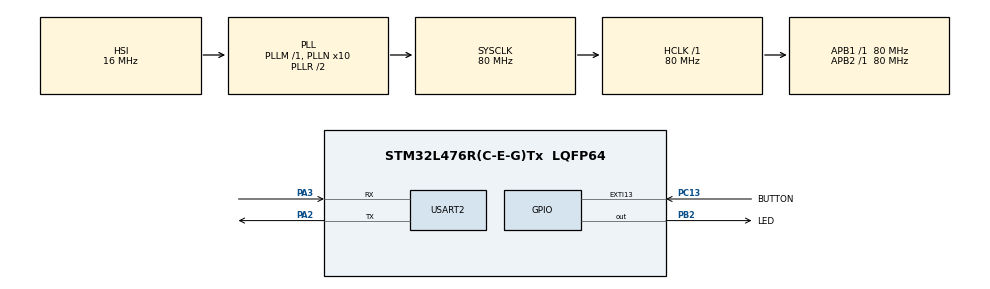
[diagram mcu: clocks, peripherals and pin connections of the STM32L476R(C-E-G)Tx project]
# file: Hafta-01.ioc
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FREERTOS.Tasks01=defaultTask,24,128,StartDefaultTask,Default,NULL,Dynamic,NULL,NULL
Mcu.Family=STM32L4
Mcu.Name=STM32L476R(C-E-G)Tx
Mcu.Package=LQFP64
NVIC.EXTI15_10_IRQn=true\:5\:0\:false\:false\:true\:true\:true\:true\:true
NVIC.PriorityGroup=NVIC_PRIORITYGROUP_4
NVIC.TIM3_IRQn=true\:15\:0\:false\:false\:true\:false\:false\:true\:true
NVIC.TimeBase=TIM3_IRQn
NVIC.TimeBaseIP=TIM3
NVIC.USART2_IRQn=true\:5\:0\:false\:false\:true\:true\:true\:true\:true
PA13\ (JTMS-SWDIO).Mode=Serial_Wire
PA13\ (JTMS-SWDIO).Signal=SYS_JTMS-SWDIO
PA14\ (JTCK-SWCLK).Mode=Serial_Wire
PA14\ (JTCK-SWCLK).Signal=SYS_JTCK-SWCLK
PA2.Mode=Asynchronous
PA2.Signal=USART2_TX
PA3.Mode=Asynchronous
PA3.Signal=USART2_RX
PB2.GPIO_Label=LED
PB2.Signal=GPIO_Output
PC13.GPIO_Label=BUTTON
PC13.GPIO_ModeDefaultEXTI=GPIO_MODE_IT_RISING
PC13.GPIO_PuPd=GPIO_PULLDOWN
PC13.Signal=GPXTI13
PH0-OSC_IN\ (PH0).Mode=HSE-External-Oscillator
PH0-OSC_IN\ (PH0).Signal=RCC_OSC_IN
PH1-OSC_OUT\ (PH1).Mode=HSE-External-Oscillator
PH1-OSC_OUT\ (PH1).Signal=RCC_OSC_OUT
ProjectManager.HeapSize=0x200
ProjectManager.StackSize=0x400
ProjectManager.TargetToolchain=CMake
RCC.ADCFreq_Value=64000000
RCC.AHBFreq_Value=80000000
RCC.APB1Freq_Value=80000000
RCC.APB1TimFreq_Value=80000000
RCC.APB2Freq_Value=80000000
RCC.APB2TimFreq_Value=80000000
RCC.CortexFreq_Value=80000000
RCC.HCLKFreq_Value=80000000
RCC.HSE_VALUE=8000000
RCC.HSI_VALUE=16000000
RCC.LSE_VALUE=32768
RCC.MSI_VALUE=4000000
RCC.PLLN=10
RCC.PLLSourceVirtual=RCC_PLLSOURCE_HSI
RCC.SYSCLKFreq_VALUE=80000000
RCC.SYSCLKSource=RCC_SYSCLKSOURCE_PLLCLK
RCC.USBFreq_Value=64000000
RCC.VCOOutputFreq_Value=160000000
TIM2.AutoReloadPreload=TIM_AUTORELOAD_PRELOAD_ENABLE
TIM2.Period=4294967295
TIM2.Prescaler=79
USART2.VirtualMode-Asynchronous=VM_ASYNC
VP_FREERTOS_VS_CMSIS_V2.Mode=CMSIS_V2
VP_SYS_VS_tim3.Mode=TIM3
VP_TIM2_VS_ClockSourceINT.Mode=Internal
board=custom

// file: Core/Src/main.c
/* USER CODE BEGIN Header */
/**
  ******************************************************************************
  * @file           : main.c
  * @brief          : Main program body
  ******************************************************************************
  * @attention
  *
  * Copyright (c) 2026 STMicroelectronics.
  * All rights reserved.
  *
  * This software is licensed under terms that can be found in the LICENSE file
  * in the root directory of this software component.
  * If no LICENSE file comes with this software, it is provided AS-IS.
  *
  ******************************************************************************
  */
/* USER CODE END Header */
#include "main.h"
#include "cmsis_os.h"

/* USER CODE BEGIN Includes */
#include "FreeRTOS.h"
#include "task.h"
#include "queue.h"
#include <stdio.h>
#include <string.h>
/* USER CODE END Includes */

/* USER CODE BEGIN PTD */
/*
 *  EXTI13 ISR --(buttonQ)--> ButtonTask (orta) ---------\
 *  TelemetriTask (yuksek, senaryoya gore) ---------------+--(txQ FIFO)--> UartTxTask (dusuk) --> USART2 (IT)
 *  USART2 RX ISR (komut "S0".."S5", "?") --(txQ, on)----/
 *
 *  Yanit suresi R = t4 - t0. Sinirlar:
 *   t0  Buton ISR girisinde         : filtrenin kabul ettigi kenarin zamani.
 *   t1  ButtonTask olayi aldiktan hemen sonra : olay aktarimi + CPU beklemesi dahil.
 *   t2  Yanit icin xQueueSend cagrisindan hemen once : basarili gonderimde zincir surer.
 *   t3  UART baslatma cagrisindan (HAL_UART_Transmit_IT) hemen once
 *       : ilk fiziksel bit ile ayni an DEGILDIR.
 *   t4  UART TC tamamlanmasi islenirken (HAL_UART_TxCpltCallback)
 *       : son bitten sonraki ISR/callback gozlem zamani.
 *
 *  UART satir protokolu (MCU -> PC), her satir '\n' ile biter, '#' = yorum:
 *   SCN,<scn>,<period_ms>,<work_ms>,<next_id>,<baud>
 *   BAUD,<yeni>,<eski>                          <- hiz degisimi onayi (ESKI hizda gonderilir)
 *   TEL,<scn>,<seq>,<temp_dC>,<vbat_mV>,<exec_us>
 *   BTN,<scn>,<id>                                  <- olculen yanit mesajinin kendisi
 *   REC,<scn>,<id>,<status>,<t0>,<t1>,<t2>,<t3>,<t4> (ham TIM2 us, modulo 2^32)
 *       status: OK | DROPI (buttonQ dolu) | DROPQ (txQ dolu) | TXERR | TMO | LOST
 *  Komutlar (PC -> MCU), yalnizca deney disinda: "S0".."S5" senaryo, "?" durum,
 *   "B<baud>" UART hizi (9600..921600). Yeni hizda 3 sn icinde "?" gelmezse eski hiza donulur.
 */
typedef enum
{
  TEL = 0,
  BTN = 1,
  CTL = 2
} TxSource;

/* ISR -> ButtonTask */
typedef struct
{
  uint32_t id;
  uint32_t t0_us;          /* filtrenin kabul ettigi kenarin zamani */
} ButtonEvent;

/* Ureticiler -> UartTxTask (ortak FIFO) */
typedef struct
{
  TxSource src;
  uint8_t  scn;
  uint32_t id;
  uint32_t t_event_us;     /* TEL: release ani, BTN: t0 */
  union
  {
    struct { uint32_t sample; int16_t temp_dC; uint16_t vbat_mV; uint32_t exec_us; } tel;
    struct { uint8_t cmd; uint32_t baud; } ctl;   /* 0..5: senaryo, CTL_QUERY: durum, CTL_BAUD: hiz */
  } u;
} TxMsg;

typedef enum
{
  REC_PENDING = 0,   /* ISR kabul etti (t0)              */
  REC_ACTIVE,        /* ButtonTask aldi (t1)             */
  REC_QUEUED,        /* yanit txQ'ya veriliyor (t2)      */
  REC_OK,            /* UART TC goruldu (t3, t4)         */
  REC_DROPI,         /* buttonQ dolu                     */
  REC_DROPQ,         /* txQ dolu                         */
  REC_TXERR,         /* HAL_UART_Transmit_IT hata dondu  */
  REC_TMO            /* TC zamaninda gelmedi             */
} RecState;

/* Bir buton olayinin zaman cizelgesi */
typedef struct
{
  uint32_t id;
  uint8_t  scn;
  RecState state;
  uint32_t t0, t1, t2, t3, t4;
} BtnRecord;

typedef struct
{
  uint16_t period_ms;      /* 0 = telemetri kapali */
  uint16_t work_ms;        /* aktivasyon basina ek CPU isi (ms) */
} ScenarioCfg;

typedef enum
{
  TX_OK = 0,
  TX_ERR,
  TX_TMO
} TxResult;

/* Senaryo degisince sifirlanir. Debugger -> Live Expressions */
typedef struct
{
  uint32_t btn_accepted;       /* filtreden gecen basis kenarlari                 */
  uint32_t btn_bounce;         /* 30 ms penceresinde sayilip atilan kenarlar      */
  uint32_t btn_isr_drop;       /* buttonQ dolu                                    */
  uint32_t btn_txq_drop;       /* yanit txQ'ya sigmadi                            */
  uint32_t btn_ok;             /* t4'e ulasan yanitlar                            */
  uint32_t btn_deadline_miss;  /* R > 20 ms                                       */
  uint32_t btn_max_us;
  uint32_t tx_err;
  uint32_t tx_tmo;
  uint32_t rec_lost;           /* kayit slotu raporlanmadan ustune yazildi        */
  uint32_t tel_sent;
  uint32_t tel_drop;
  uint32_t tel_max_exec_us;
  uint32_t tel_max_jitter_us;
  uint32_t rx_err;
  uint32_t cmd_bad;
} RtStats;
/* USER CODE END PTD */

/* USER CODE BEGIN PD */
/* Oncelikler: defaultTask = 24 (osPriorityNormal); hepsi onun ustunde */
#define TEL_TASK_PRIO       40u   /* en yuksek */
#define BTN_TASK_PRIO       32u   /* orta      */
#define UARTTX_TASK_PRIO    25u   /* en dusuk  */

#define TEL_STACK_WORDS     256u
#define BTN_STACK_WORDS     256u
#define UARTTX_STACK_WORDS  512u  /* snprintf icin genis */

#define TXQ_LEN             16u
#define BUTTONQ_LEN         8u

#define BTN_DEADLINE_US     20000u
#define BTN_REFILTER_US     30000u  /* kabul edilen kenardan sonraki 30 ms: tekrar kenarlar atilir */
#define BTN_REC_SLOTS       16u

#define SCN_COUNT           6u
#define SCN_DEFAULT         0u
#define CTL_QUERY           0xFFu
#define CTL_BAUD            0xFDu

#define UART_TX_MARGIN_MS   20u     /* TMO = satirin hattaki suresi + bu pay */
#define BAUD_CONFIRM_MS     3000u   /* yeni hizda bu surede "?" gelmezse eski hiza don */
#define UARTTX_IDLE_MS      50u     /* kuyruk bossa bu aralikla biten kayitlari raporla */
#define CMD_BUF_LEN         12u
/* USER CODE END PD */

/* USER CODE BEGIN PM */
/* xTaskDelayUntil FreeRTOS 10.4.0'da geldi; projedeki surum 10.3.1 */
#if (tskKERNEL_VERSION_MAJOR == 10) && (tskKERNEL_VERSION_MINOR < 4)
#define xTaskDelayUntil(prev, inc)  vTaskDelayUntil((prev), (inc))
#endif
/* USER CODE END PM */

TIM_HandleTypeDef htim2;

UART_HandleTypeDef huart2;

/* Definitions for defaultTask */
osThreadId_t defaultTaskHandle;
const osThreadAttr_t defaultTask_attributes = {
  .name = "defaultTask",
  .stack_size = 128 * 4,
  .priority = (osPriority_t) osPriorityNormal,
};
/* USER CODE BEGIN PV */
/* Statik task bellekleri */
static StaticTask_t telTcb;
static StackType_t  telStack[TEL_STACK_WORDS];
static StaticTask_t btnTcb;
static StackType_t  btnStack[BTN_STACK_WORDS];
static StaticTask_t uartTxTcb;
static StackType_t  uartTxStack[UARTTX_STACK_WORDS];

/* Statik kuyruk bellekleri */
static StaticQueue_t txQCb;
static uint8_t       txQStorage[TXQ_LEN * sizeof(TxMsg)];
static StaticQueue_t buttonQCb;
static uint8_t       buttonQStorage[BUTTONQ_LEN * sizeof(ButtonEvent)];

static TaskHandle_t  telTaskHandle;
static TaskHandle_t  btnTaskHandle;
static TaskHandle_t  uartTxTaskHandle;
static QueueHandle_t txQ;
static QueueHandle_t buttonQ;

/* Olcum senaryolari */
static const ScenarioCfg kScenario[SCN_COUNT] =
{
  /* period_ms, work_ms */
  {   0u, 0u },   /* S0: telemetri kapali (task bloklu) - referans */
  { 100u, 0u },   /* S1: 10 Hz                                     */
  {  20u, 0u },   /* S2: 50 Hz                                     */
  {  10u, 0u },   /* S3: 100 Hz                                    */
  {  10u, 2u },   /* S4: 100 Hz + ~2 ms CPU isi                    */
  {  10u, 5u },   /* S5: 100 Hz + ~5 ms CPU isi                    */
};
static volatile uint8_t g_scn = SCN_DEFAULT;   /* sadece UartTxTask yazar */

static uint32_t          workItersPerMs;       /* calibrate_work() sonucu      */
static uint32_t          workCheckUs[2];       /* acilis dogrulamasi: 2 ms ve 5 ms isin olculen suresi */
static BtnRecord         btnRec[BTN_REC_SLOTS];
static volatile uint32_t btnNextId;            /* sadece buton ISR'i yazar     */
static uint32_t          reportNextId;         /* sadece UartTxTask kullanir   */
static volatile uint32_t uartTxT4;             /* TC callback'inde alinan t4   */
static char              txBuf[128];           /* IT gonderimi bitene kadar sabit kalir */

/* Desteklenen UART hizlari (USART2 = 80 MHz, 16x ornekleme: hepsinde hata < %0.2) */
static const uint32_t kBaud[] = { 9600u, 19200u, 57600u, 115200u, 230400u, 460800u, 921600u };
static uint32_t   baudPrev;                     /* onay bekleyen degisimden onceki hiz */
static uint8_t    baudPending;                  /* 1: yeni hiz henuz onaylanmadi       */
static TickType_t baudDeadline;

volatile RtStats g_rt;
/* USER CODE END PV */

void SystemClock_Config(void);
static void MX_GPIO_Init(void);
static void MX_TIM2_Init(void);
static void MX_USART2_UART_Init(void);
void StartDefaultTask(void *argument);

/* USER CODE BEGIN PFP */
static void TelemetriTask(void *argument);
static void ButtonTask(void *argument);
static void UartTxTask(void *argument);
/* USER CODE END PFP */

/* USER CODE BEGIN 0 */
/* TIM2: 80 MHz / (79+1) = 1 MHz, 32-bit, yukari sayan serbest sayac.
 * - ISR-guvenli: tek bir 32-bit yazmac okumasi (atomik); paylasilan degisken,
 *   kilit veya HAL cagrisi yok -> herhangi bir oncelikten cagrilabilir.
 * - Monoton: sayac hic durmaz/geri gitmez; 2^32 us'de (~71.6 dk) sarar.
 *   Sureler HER ZAMAN (uint32_t)(yeni - eski) ile hesaplanir; bu modulo-2^32
 *   aritmetigi sarma aninda bile ~71 dk'dan kisa araliklari dogru verir. */
static inline uint32_t timer_us(void)
{
  return TIM2->CNT;
}

/* Bilinen sure kadar CPU harcar (yuk simulasyonu) */
static void calibrated_work(uint32_t iterations)
{
  for (volatile uint32_t i = 0; i < iterations; i++)
  {
  }
}

/* Scheduler'dan once: 1 ms'lik is icin gereken iterasyon sayisini olcer,
 * sonra 2 ms ve 5 ms'lik isi gercekten calistirip suresini dogrular (UART'a "# CAL"). */
static void calibrate_work(void)
{
  const uint32_t probe = 50000u;             /* ~7 ms: 1 us cozunurlukte < %0.02 hata */
  uint32_t best = UINT32_MAX;

  for (int i = 0; i < 3; i++)   /* tick kesmesi karismasin diye en kisasi alinir */
  {
    uint32_t t = timer_us();
    calibrated_work(probe);
    uint32_t d = timer_us() - t;
    if (d < best)
    {
      best = d;
    }
  }
  if (best == 0u)
  {
    best = 1u;
  }
  workItersPerMs = (uint32_t)(((uint64_t)probe * 1000u) / best);

  static const uint8_t check_ms[2] = { 2u, 5u };
  for (int i = 0; i < 2; i++)
  {
    uint32_t t = timer_us();
    calibrated_work(workItersPerMs * check_ms[i]);
    workCheckUs[i] = timer_us() - t;
  }
}

static uint32_t work_iters(uint32_t work_ms)
{
  return workItersPerMs * work_ms;
}

static TxMsg make_telemetry(uint32_t t_release_us)
{
  static uint32_t sample;
  TxMsg m = {0};
  uint32_t exec = timer_us() - t_release_us;   /* ek is olmasa da sifir degil */

  if (exec > g_rt.tel_max_exec_us)
  {
    g_rt.tel_max_exec_us = exec;
  }

  m.src           = TEL;
  m.scn           = g_scn;
  m.id            = sample;
  m.t_event_us    = t_release_us;
  m.u.tel.sample  = sample;
  m.u.tel.temp_dC = (int16_t)(240 + (int32_t)(sample % 21u));   /* 24.0 .. 26.0 C */
  m.u.tel.vbat_mV = (uint16_t)(3300u - (sample % 50u));
  m.u.tel.exec_us = exec;
  sample++;
  return m;
}

static void count_tx_drop(TxSource src)
{
  if (src == TEL)
  {
    g_rt.tel_drop++;
  }
  else
  {
    g_rt.btn_txq_drop++;
  }
}

static inline BtnRecord *rec_slot(uint32_t id)
{
  return &btnRec[id % BTN_REC_SLOTS];
}

/* ISR: kayit zincirini t0 ile acar */
static void claim_record(ButtonEvent e)
{
  BtnRecord *r = rec_slot(e.id);
  r->id    = e.id;
  r->scn   = g_scn;
  r->t0    = e.t0_us;
  r->t1    = 0u;
  r->t2    = 0u;
  r->t3    = 0u;
  r->t4    = 0u;
  r->state = REC_PENDING;
}

/* Slot daha yeni bir olay tarafindan alindiysa yazma: o kayit LOST raporlanir */
static void begin_record(ButtonEvent e, uint32_t t1)
{
  BtnRecord *r = rec_slot(e.id);
  if (r->id == e.id)
  {
    r->t1    = t1;
    r->state = REC_ACTIVE;
  }
}

static TxMsg make_button_reply(uint32_t id)
{
  BtnRecord *r = rec_slot(id);
  TxMsg m = {0};
  m.src        = BTN;
  m.scn        = r->scn;
  m.id         = id;
  m.t_event_us = r->t0;
  return m;
}

static void record_t2(uint32_t id, uint32_t t2)
{
  BtnRecord *r = rec_slot(id);
  if (r->id == id)
  {
    r->t2    = t2;
    r->state = REC_QUEUED;
  }
}

static void mark_drop(uint32_t id)
{
  BtnRecord *r = rec_slot(id);
  if (r->id == id)
  {
    r->state = REC_DROPQ;
  }
  count_tx_drop(BTN);
}

/* Kesmeli gonderim. t3: baslatma cagrisindan hemen once; t4: TC callback'inde.
 * Gonderim surerken task BLOKLU bekler (CPU'yu digerlerine birakir). */
static TxResult uart_tx(const char *s, int len, uint32_t *t3, uint32_t *t4)
{
  if ((len <= 0) || (len >= (int)sizeof(txBuf)))
  {
    g_rt.tx_err++;
    return TX_ERR;
  }

  (void)ulTaskNotifyTake(pdTRUE, 0);          /* eski bildirim kalmasin */
  *t3 = timer_us();                           /* t3 */
  if (HAL_UART_Transmit_IT(&huart2, (const uint8_t *)s, (uint16_t)len) != HAL_OK)
  {
    g_rt.tx_err++;
    return TX_ERR;
  }
  /* 1 bayt = 10 bit (8N1): beklenen hat suresi + pay */
  const uint32_t tmo_ms = ((uint32_t)len * 10000u) / huart2.Init.BaudRate + UART_TX_MARGIN_MS;
  if (ulTaskNotifyTake(pdTRUE, pdMS_TO_TICKS(tmo_ms)) == 0u)
  {
    (void)HAL_UART_AbortTransmit(&huart2);
    g_rt.tx_tmo++;
    return TX_TMO;
  }
  *t4 = uartTxT4;                             /* t4 */
  return TX_OK;
}

static TxResult uart_send(int len)
{
  uint32_t t3, t4;
  return uart_tx(txBuf, len, &t3, &t4);
}

static void send_scn_line(void)
{
  const uint8_t scn = g_scn;
  int len = snprintf(txBuf, sizeof(txBuf), "SCN,%u,%u,%u,%lu,%lu\n",
                     (unsigned)scn, (unsigned)kScenario[scn].period_ms,
                     (unsigned)kScenario[scn].work_ms, (unsigned long)btnNextId,
                     (unsigned long)huart2.Init.BaudRate);
  (void)uart_send(len);
}

static int baud_supported(uint32_t baud)
{
  for (unsigned i = 0; i < sizeof(kBaud) / sizeof(kBaud[0]); i++)
  {
    if (kBaud[i] == baud) return 1;
  }
  return 0;
}

/* USART2'yi yeni hizla yeniden yapilandirir. TX bosken cagrilir (UartTxTask). */
static void uart_set_baud(uint32_t baud)
{
  HAL_NVIC_DisableIRQ(USART2_IRQn);
  huart2.Init.BaudRate = baud;
  if (HAL_UART_Init(&huart2) != HAL_OK)       /* MspInit tekrar cagrilmaz: sadece BRR/CR */
  {
    Error_Handler();
  }
  __HAL_UART_CLEAR_FLAG(&huart2, UART_CLEAR_OREF | UART_CLEAR_FEF | UART_CLEAR_NEF | UART_CLEAR_PEF);
  SET_BIT(huart2.Instance->CR1, USART_CR1_RXNEIE);
  HAL_NVIC_ClearPendingIRQ(USART2_IRQn);
  HAL_NVIC_EnableIRQ(USART2_IRQn);
}

/* Onay satiri ESKI hizda gider, sonra hiz degisir. PC yeni hizda "?" gondermezse
 * baud_watchdog() BAUD_CONFIRM_MS sonra eski hiza doner. */
static void change_baud(uint32_t baud)
{
  const uint32_t old = huart2.Init.BaudRate;
  int len = snprintf(txBuf, sizeof(txBuf), "BAUD,%lu,%lu\n", (unsigned long)baud, (unsigned long)old);
  (void)uart_send(len);                       /* TC'ye kadar bekler: son bit hatta */
  vTaskDelay(pdMS_TO_TICKS(20));              /* ST-LINK'in satiri USB'ye aktarmasi icin */
  if (baud == old)
  {
    return;
  }
  uart_set_baud(baud);
  baudPrev     = old;
  baudPending  = 1u;
  baudDeadline = xTaskGetTickCount() + pdMS_TO_TICKS(BAUD_CONFIRM_MS);
}

static void baud_watchdog(void)
{
  if (baudPending && ((int32_t)(xTaskGetTickCount() - baudDeadline) >= 0))
  {
    baudPending = 0u;
    uart_set_baud(baudPrev);                  /* PC yeni hiza gelemedi: geri don */
  }
}

/* Senaryo/hiz degisimi yalnizca burada (UartTxTask) yapilir. */
static void apply_ctl(uint8_t cmd, uint32_t baud)
{
  if (cmd == CTL_BAUD)
  {
    change_baud(baud);
    return;
  }
  if (cmd == CTL_QUERY)
  {
    baudPending = 0u;                         /* yeni hizda komut geldi: hiz onaylandi */
  }
  if (cmd < SCN_COUNT)
  {
    taskENTER_CRITICAL();
    g_scn = cmd;
    memset((void *)&g_rt, 0, sizeof(g_rt));
    taskEXIT_CRITICAL();
    xTaskNotifyGive(telTaskHandle);           /* S0'da bloklu olabilir: uyandir */
  }
  send_scn_line();
}

static const char *rec_status_str(RecState s)
{
  switch (s)
  {
    case REC_OK:    return "OK";
    case REC_DROPI: return "DROPI";
    case REC_DROPQ: return "DROPQ";
    case REC_TXERR: return "TXERR";
    case REC_TMO:   return "TMO";
    default:        return "LOST";
  }
}

/* Biten buton kayitlarini kimlik sirasiyla REC satiri olarak raporlar.
 * Hala yolda olan bir kayitta durur; boylece her kimlik tam bir kez raporlanir. */
static void report_records(void)
{
  for (;;)
  {
    BtnRecord r;
    uint32_t  issued;

    taskENTER_CRITICAL();
    issued = btnNextId;
    r      = *rec_slot(reportNextId);
    taskEXIT_CRITICAL();

    if (reportNextId == issued)
    {
      return;
    }

    RecState st;
    if (r.id != reportNextId)
    {
      st = REC_PENDING;                       /* slot ustune yazilmis -> LOST */
      r.scn = g_scn;
      r.t0 = r.t1 = r.t2 = r.t3 = r.t4 = 0u;
      g_rt.rec_lost++;
    }
    else if ((r.state == REC_PENDING) || (r.state == REC_ACTIVE) || (r.state == REC_QUEUED))
    {
      return;                                 /* hala yolda */
    }
    else
    {
      st = r.state;
    }

    int len = snprintf(txBuf, sizeof(txBuf), "REC,%u,%lu,%s,%lu,%lu,%lu,%lu,%lu\n",
                       (unsigned)r.scn, (unsigned long)reportNextId, rec_status_str(st),
                       (unsigned long)r.t0, (unsigned long)r.t1, (unsigned long)r.t2,
                       (unsigned long)r.t3, (unsigned long)r.t4);
    (void)uart_send(len);
    reportNextId++;
  }
}

/* Yanit mesaji: olculen gonderim budur (t3..t4) */
static void handle_button_reply(const TxMsg *m)
{
  uint32_t t3 = 0u, t4 = 0u;
  int len = snprintf(txBuf, sizeof(txBuf), "BTN,%u,%lu\n",
                     (unsigned)m->scn, (unsigned long)m->id);
  TxResult res = uart_tx(txBuf, len, &t3, &t4);

  taskENTER_CRITICAL();
  BtnRecord *r = rec_slot(m->id);
  if (r->id == m->id)
  {
    r->t3 = t3;
    if (res == TX_OK)
    {
      r->t4    = t4;
      r->state = REC_OK;
    }
    else
    {
      r->state = (res == TX_TMO) ? REC_TMO : REC_TXERR;
    }
  }
  taskEXIT_CRITICAL();

  if (res == TX_OK)
  {
    uint32_t resp = t4 - m->t_event_us;
    g_rt.btn_ok++;
    if (resp > g_rt.btn_max_us)
    {
      g_rt.btn_max_us = resp;
    }
    if (resp > BTN_DEADLINE_US)
    {
      g_rt.btn_deadline_miss++;
    }
  }
}
/* USER CODE END 0 */

int main(void)
{

  /* MCU Configuration--------------------------------------------------------*/

  /* Reset of all peripherals, Initializes the Flash interface and the Systick. */
  HAL_Init();

  /* Configure the system clock */
  SystemClock_Config();

  /* Initialize all configured peripherals */
  MX_GPIO_Init();
  MX_TIM2_Init();
  MX_USART2_UART_Init();
  /* USER CODE BEGIN 2 */
  HAL_TIM_Base_Start(&htim2);   /* TIM2: 1 MHz serbest sayac (zaman damgasi) */
  calibrate_work();
  /* USER CODE END 2 */

  /* Init scheduler */
  osKernelInitialize();

  /* USER CODE BEGIN RTOS_QUEUES */
  /* add queues, ... */
  txQ     = xQueueCreateStatic(TXQ_LEN, sizeof(TxMsg), txQStorage, &txQCb);
  buttonQ = xQueueCreateStatic(BUTTONQ_LEN, sizeof(ButtonEvent), buttonQStorage, &buttonQCb);
  configASSERT(txQ != NULL);
  configASSERT(buttonQ != NULL);
  vQueueAddToRegistry(txQ, "txQ");
  vQueueAddToRegistry(buttonQ, "buttonQ");

  /* ...FromISR API'si cagiran IRQ'larin onceligi sayisal olarak
   * configLIBRARY_MAX_SYSCALL_INTERRUPT_PRIORITY (5) veya daha buyuk olmali. */
  configASSERT(NVIC_GetPriority(BUTTON_EXTI_IRQn) >= configLIBRARY_MAX_SYSCALL_INTERRUPT_PRIORITY);
  configASSERT(NVIC_GetPriority(USART2_IRQn) >= configLIBRARY_MAX_SYSCALL_INTERRUPT_PRIORITY);

  __HAL_GPIO_EXTI_CLEAR_IT(BUTTON_Pin);       /* acilistaki eski kenarlari unut */
  HAL_NVIC_ClearPendingIRQ(BUTTON_EXTI_IRQn);
  HAL_NVIC_EnableIRQ(BUTTON_EXTI_IRQn);

  /* Komut alimi: RXNE kesmesi (uart_rx_irq). TX tarafini HAL IT yonetir. */
  __HAL_UART_CLEAR_FLAG(&huart2, UART_CLEAR_OREF | UART_CLEAR_FEF | UART_CLEAR_NEF | UART_CLEAR_PEF);
  SET_BIT(huart2.Instance->CR1, USART_CR1_RXNEIE);
  /* USER CODE END RTOS_QUEUES */

  /* Create the thread(s) */
  /* creation of defaultTask */
  defaultTaskHandle = osThreadNew(StartDefaultTask, NULL, &defaultTask_attributes);

  /* USER CODE BEGIN RTOS_THREADS */
  /* add threads, ... */
  telTaskHandle    = xTaskCreateStatic(TelemetriTask, "TelemetriTask", TEL_STACK_WORDS,
                                       NULL, TEL_TASK_PRIO, telStack, &telTcb);
  btnTaskHandle    = xTaskCreateStatic(ButtonTask, "ButtonTask", BTN_STACK_WORDS,
                                       NULL, BTN_TASK_PRIO, btnStack, &btnTcb);
  uartTxTaskHandle = xTaskCreateStatic(UartTxTask, "UartTxTask", UARTTX_STACK_WORDS,
                                       NULL, UARTTX_TASK_PRIO, uartTxStack, &uartTxTcb);
  configASSERT(telTaskHandle != NULL);
  configASSERT(btnTaskHandle != NULL);
  configASSERT(uartTxTaskHandle != NULL);
  /* USER CODE END RTOS_THREADS */

  /* Start scheduler */
  osKernelStart();

  /* We should never get here as control is now taken by the scheduler */

  /* Infinite loop */
  while (1)
  {

  }
}

void SystemClock_Config(void)
{
  RCC_OscInitTypeDef RCC_OscInitStruct = {0};
  RCC_ClkInitTypeDef RCC_ClkInitStruct = {0};

  /** Configure the main internal regulator output voltage
  */
  if (HAL_PWREx_ControlVoltageScaling(PWR_REGULATOR_VOLTAGE_SCALE1) != HAL_OK)
  {
    Error_Handler();
  }

  /** Initializes the RCC Oscillators according to the specified parameters
  * in the RCC_OscInitTypeDef structure.
  */
  RCC_OscInitStruct.OscillatorType = RCC_OSCILLATORTYPE_HSI;
  RCC_OscInitStruct.HSIState = RCC_HSI_ON;
  RCC_OscInitStruct.HSICalibrationValue = RCC_HSICALIBRATION_DEFAULT;
  RCC_OscInitStruct.PLL.PLLState = RCC_PLL_ON;
  RCC_OscInitStruct.PLL.PLLSource = RCC_PLLSOURCE_HSI;
  RCC_OscInitStruct.PLL.PLLM = 1;
  RCC_OscInitStruct.PLL.PLLN = 10;
  RCC_OscInitStruct.PLL.PLLP = RCC_PLLP_DIV7;
  RCC_OscInitStruct.PLL.PLLQ = RCC_PLLQ_DIV2;
  RCC_OscInitStruct.PLL.PLLR = RCC_PLLR_DIV2;
  if (HAL_RCC_OscConfig(&RCC_OscInitStruct) != HAL_OK)
  {
    Error_Handler();
  }

  /** Initializes the CPU, AHB and APB buses clocks
  */
  RCC_ClkInitStruct.ClockType = RCC_CLOCKTYPE_HCLK|RCC_CLOCKTYPE_SYSCLK
                              |RCC_CLOCKTYPE_PCLK1|RCC_CLOCKTYPE_PCLK2;
  RCC_ClkInitStruct.SYSCLKSource = RCC_SYSCLKSOURCE_PLLCLK;
  RCC_ClkInitStruct.AHBCLKDivider = RCC_SYSCLK_DIV1;
  RCC_ClkInitStruct.APB1CLKDivider = RCC_HCLK_DIV1;
  RCC_ClkInitStruct.APB2CLKDivider = RCC_HCLK_DIV1;

  if (HAL_RCC_ClockConfig(&RCC_ClkInitStruct, FLASH_LATENCY_4) != HAL_OK)
  {
    Error_Handler();
  }
}

static void MX_TIM2_Init(void)
{

  TIM_ClockConfigTypeDef sClockSourceConfig = {0};
  TIM_MasterConfigTypeDef sMasterConfig = {0};

  htim2.Instance = TIM2;
  htim2.Init.Prescaler = 79;
  htim2.Init.CounterMode = TIM_COUNTERMODE_UP;
  htim2.Init.Period = 4294967295;
  htim2.Init.ClockDivision = TIM_CLOCKDIVISION_DIV1;
  htim2.Init.AutoReloadPreload = TIM_AUTORELOAD_PRELOAD_ENABLE;
  if (HAL_TIM_Base_Init(&htim2) != HAL_OK)
  {
    Error_Handler();
  }
  sClockSourceConfig.ClockSource = TIM_CLOCKSOURCE_INTERNAL;
  if (HAL_TIM_ConfigClockSource(&htim2, &sClockSourceConfig) != HAL_OK)
  {
    Error_Handler();
  }
  sMasterConfig.MasterOutputTrigger = TIM_TRGO_RESET;
  sMasterConfig.MasterSlaveMode = TIM_MASTERSLAVEMODE_DISABLE;
  if (HAL_TIMEx_MasterConfigSynchronization(&htim2, &sMasterConfig) != HAL_OK)
  {
    Error_Handler();
  }

}

static void MX_USART2_UART_Init(void)
{

  huart2.Instance = USART2;
  huart2.Init.BaudRate = 115200;
  huart2.Init.WordLength = UART_WORDLENGTH_8B;
  huart2.Init.StopBits = UART_STOPBITS_1;
  huart2.Init.Parity = UART_PARITY_NONE;
  huart2.Init.Mode = UART_MODE_TX_RX;
  huart2.Init.HwFlowCtl = UART_HWCONTROL_NONE;
  huart2.Init.OverSampling = UART_OVERSAMPLING_16;
  huart2.Init.OneBitSampling = UART_ONE_BIT_SAMPLE_DISABLE;
  huart2.AdvancedInit.AdvFeatureInit = UART_ADVFEATURE_NO_INIT;
  if (HAL_UART_Init(&huart2) != HAL_OK)
  {
    Error_Handler();
  }

}

static void MX_GPIO_Init(void)
{
  GPIO_InitTypeDef GPIO_InitStruct = {0};

  /* GPIO Ports Clock Enable */
  __HAL_RCC_GPIOC_CLK_ENABLE();
  __HAL_RCC_GPIOH_CLK_ENABLE();
  __HAL_RCC_GPIOA_CLK_ENABLE();
  __HAL_RCC_GPIOB_CLK_ENABLE();

  /*Configure GPIO pin Output Level */
  HAL_GPIO_WritePin(LED_GPIO_Port, LED_Pin, GPIO_PIN_RESET);

  /*Configure GPIO pin : BUTTON_Pin */
  GPIO_InitStruct.Pin = BUTTON_Pin;
  GPIO_InitStruct.Mode = GPIO_MODE_IT_RISING;
  GPIO_InitStruct.Pull = GPIO_PULLDOWN;
  HAL_GPIO_Init(BUTTON_GPIO_Port, &GPIO_InitStruct);

  /*Configure GPIO pin : LED_Pin */
  GPIO_InitStruct.Pin = LED_Pin;
  GPIO_InitStruct.Mode = GPIO_MODE_OUTPUT_PP;
  GPIO_InitStruct.Pull = GPIO_NOPULL;
  GPIO_InitStruct.Speed = GPIO_SPEED_FREQ_LOW;
  HAL_GPIO_Init(LED_GPIO_Port, &GPIO_InitStruct);

  /* EXTI interrupt init*/
  HAL_NVIC_SetPriority(EXTI15_10_IRQn, 5, 0);
  HAL_NVIC_EnableIRQ(EXTI15_10_IRQn);

  /* USER CODE BEGIN MX_GPIO_Init_2 */
  /* buttonQ kurulana kadar buton kesmesi kapali; RTOS_QUEUES'te acilir */
  HAL_NVIC_DisableIRQ(BUTTON_EXTI_IRQn);
  /* USER CODE END MX_GPIO_Init_2 */
}

/* USER CODE BEGIN 4 */
/* ---------------------- Buton ISR (EXTI13, sadece basis kenari) ---------------------- */
/* Asagidaki statik durumlarin tamami yalnizca button_irq() icinden degisir; bu IRQ
 * kendini kesemedigi icin kilit/kritik bolge gerekmez. ISR icinde bekleme ve UART yok. */

static inline void clear_button_irq_flag(void)
{
  __HAL_GPIO_EXTI_CLEAR_IT(BUTTON_Pin);
}

/* Ilk kenar her zaman kabul edilir (ayri ilk-olay durumu). Sonrasinda son KABUL
 * edilen kenardan itibaren 30 ms icinde gelen kenarlar sayilip atilir. */
static int accept_edge(uint32_t now)
{
  static uint8_t  have_first;       /* 0: henuz hic kenar kabul edilmedi */
  static uint32_t last_accept_us;

  if (have_first && ((uint32_t)(now - last_accept_us) < BTN_REFILTER_US))
  {
    g_rt.btn_bounce++;
    return 0;
  }

  have_first     = 1u;
  last_accept_us = now;
  g_rt.btn_accepted++;
  return 1;
}

static uint32_t next_id(void)
{
  return btnNextId++;
}

static void count_button_drop(uint32_t id)
{
  g_rt.btn_isr_drop++;
  rec_slot(id)->state = REC_DROPI;
}

/* stm32l4xx_it.c -> EXTI15_10_IRQHandler (USER CODE) icinden cagrilir */
void button_irq(void)
{
  const uint32_t now = timer_us();          /* t0: once zaman, sonra her sey */
  clear_button_irq_flag();
  if (!accept_edge(now)) return;

  ButtonEvent e = { next_id(), now };
  claim_record(e);                          /* olcum zincirini ac */
  BaseType_t wake = pdFALSE;
  if (xQueueSendFromISR(buttonQ,
                        &e, &wake) != pdPASS)
    count_button_drop(e.id);
  portYIELD_FROM_ISR(wake);
}

/* ------------------------ USART2: komut alimi ve TX tamamlanmasi ------------------------ */
/* stm32l4xx_it.c -> USART2_IRQHandler (USER CODE, HAL'dan once) icinden cagrilir.
 * Komutlar: "S0".."S5" -> senaryo, "?" -> durum, "B<baud>" -> hiz ('\n' ile biter).
 * Isleme UartTxTask'ta. */
void uart_rx_irq(void)
{
  static char    line[CMD_BUF_LEN];
  static uint8_t n;
  static uint8_t overflow;
  const uint32_t isr = huart2.Instance->ISR;

  if ((isr & (USART_ISR_ORE | USART_ISR_FE | USART_ISR_NE | USART_ISR_PE)) != 0u)
  {
    __HAL_UART_CLEAR_FLAG(&huart2, UART_CLEAR_OREF | UART_CLEAR_FEF | UART_CLEAR_NEF | UART_CLEAR_PEF);
    g_rt.rx_err++;
  }
  if ((isr & USART_ISR_RXNE) == 0u)
  {
    return;
  }

  const char c = (char)(huart2.Instance->RDR & 0xFFu);   /* okumak RXNE'yi temizler */
  if (c == '\r')
  {
    return;
  }
  if (c != '\n')
  {
    if (n < (CMD_BUF_LEN - 1u)) line[n++] = c;
    else                        overflow = 1u;
    return;
  }

  uint8_t  cmd  = 0xFEu;                     /* gecersiz */
  uint32_t baud = 0u;
  if (!overflow)
  {
    if ((n >= 5u) && (line[0] == 'B'))
    {
      for (uint8_t i = 1u; i < n; i++)
      {
        if ((line[i] < '0') || (line[i] > '9')) { baud = 0u; break; }
        baud = baud * 10u + (uint32_t)(line[i] - '0');
      }
      if (baud_supported(baud)) cmd = CTL_BAUD;
    }
    if ((n == 2u) && (line[0] == 'S') && (line[1] >= '0') && (line[1] < (char)('0' + SCN_COUNT)))
    {
      cmd = (uint8_t)(line[1] - '0');
    }
    else if ((n == 1u) && (line[0] == '?'))
    {
      cmd = CTL_QUERY;
    }
  }
  n = 0u;
  overflow = 0u;

  if (cmd == 0xFEu)
  {
    g_rt.cmd_bad++;
    return;
  }

  TxMsg m = {0};
  m.src       = CTL;
  m.u.ctl.cmd  = cmd;
  m.u.ctl.baud = baud;
  BaseType_t wake = pdFALSE;
  (void)xQueueSendToFrontFromISR(txQ, &m, &wake);
  portYIELD_FROM_ISR(wake);
}

/* t4: TC kesmesi isleniyor (son bit hattan ciktiktan sonra) */
void HAL_UART_TxCpltCallback(UART_HandleTypeDef *huart)
{
  if (huart->Instance != USART2)
  {
    return;
  }
  uartTxT4 = timer_us();
  BaseType_t wake = pdFALSE;
  vTaskNotifyGiveFromISR(uartTxTaskHandle, &wake);
  portYIELD_FROM_ISR(wake);
}

/* HAL, ORE gibi hatalarda RX kesmesini kapatir; komut alimi icin geri ac */
void HAL_UART_ErrorCallback(UART_HandleTypeDef *huart)
{
  if (huart->Instance != USART2)
  {
    return;
  }
  g_rt.rx_err++;
  SET_BIT(huart->Instance->CR1, USART_CR1_RXNEIE);
}

/* ------------------------------------- Tasklar ------------------------------------- */

/* Yuksek oncelik: senaryoya gore periyodik veri uretir, txQ'ya birakir. UART kullanmaz.
 * S0: bildirim gelene kadar BLOKLU bekler (bos dongude donmez). */
static void TelemetriTask(void *argument)
{
  (void)argument;
  TickType_t last        = xTaskGetTickCount();
  uint8_t    active      = 0xFFu;
  uint32_t   prevRelease = 0u;
  int        first       = 1;

  for (;;)
  {
    const uint8_t      scn = g_scn;
    const ScenarioCfg *cfg = &kScenario[scn];

    if (cfg->period_ms == 0u)
    {
      active = 0xFFu;
      (void)ulTaskNotifyTake(pdTRUE, portMAX_DELAY);
      continue;
    }
    if (scn != active)                  /* yeni senaryo: periyodu simdiden baslat */
    {
      active = scn;
      last   = xTaskGetTickCount();
      first  = 1;
    }

    uint32_t tRelease = timer_us();
    if (!first)
    {
      const uint32_t period_us = (uint32_t)cfg->period_ms * 1000u;
      const uint32_t p   = tRelease - prevRelease;
      const uint32_t jit = (p > period_us) ? (p - period_us) : (period_us - p);
      if (jit > g_rt.tel_max_jitter_us)
      {
        g_rt.tel_max_jitter_us = jit;
      }
    }
    first       = 0;
    prevRelease = tRelease;

    calibrated_work(work_iters(cfg->work_ms));
    TxMsg m = make_telemetry(tRelease);
    if (xQueueSend(txQ, &m, 0) != pdPASS)
      count_tx_drop(TEL);
    xTaskDelayUntil(&last, pdMS_TO_TICKS(cfg->period_ms));
  }
}

/* Orta oncelik: ISR olayini alir, cevabi txQ'ya birakir. UART kullanmaz. */
static void ButtonTask(void *argument)
{
  (void)argument;
  ButtonEvent e;

  for (;;)
  {
    xQueueReceive(buttonQ, &e, portMAX_DELAY);
    begin_record(e, timer_us());              /* t1 */
    TxMsg m = make_button_reply(e.id);
    record_t2(e.id, timer_us());              /* t2 */
    if (xQueueSend(txQ, &m, 0) != pdPASS)
      mark_drop(e.id);
  }
}

/* En dusuk oncelik: txQ'yu FIFO sirasiyla tuketir, UART'in tek sahibi. */
static void UartTxTask(void *argument)
{
  (void)argument;
  TxMsg m;
  int   len;

  len = snprintf(txBuf, sizeof(txBuf), "# Hafta-01 olcum: TIM2=1MHz DL=%luus filtre=%luus\n",
                 (unsigned long)BTN_DEADLINE_US, (unsigned long)BTN_REFILTER_US);
  (void)uart_send(len);
  /* Ek isin gercek suresi (acilista olculdu): 2 ms -> ~2000 us, 5 ms -> ~5000 us olmali */
  len = snprintf(txBuf, sizeof(txBuf), "# CAL iters_per_ms=%lu work2ms=%luus work5ms=%luus\n",
                 (unsigned long)workItersPerMs, (unsigned long)workCheckUs[0],
                 (unsigned long)workCheckUs[1]);
  (void)uart_send(len);
  send_scn_line();

  for (;;)
  {
    if (xQueueReceive(txQ, &m, pdMS_TO_TICKS(UARTTX_IDLE_MS)) == pdPASS)
    {
      switch (m.src)
      {
        case BTN:
          handle_button_reply(&m);
          break;

        case TEL:
          len = snprintf(txBuf, sizeof(txBuf), "TEL,%u,%lu,%d,%u,%lu\n",
                         (unsigned)m.scn, (unsigned long)m.u.tel.sample,
                         (int)m.u.tel.temp_dC, (unsigned)m.u.tel.vbat_mV,
                         (unsigned long)m.u.tel.exec_us);
          if (uart_send(len) == TX_OK)
          {
            g_rt.tel_sent++;
          }
          break;

        case CTL:
          apply_ctl(m.u.ctl.cmd, m.u.ctl.baud);
          break;

        default:
          break;
      }
    }
    report_records();
    baud_watchdog();
  }
}
/* USER CODE END 4 */

void StartDefaultTask(void *argument)
{
  for(;;)
  {
    osDelay(1);
  }
}

void HAL_TIM_PeriodElapsedCallback(TIM_HandleTypeDef *htim)
{
  if (htim->Instance == TIM3)
  {
    HAL_IncTick();
  }
}

void Error_Handler(void)
{
  __disable_irq();
  while (1)
  {
  }
}
